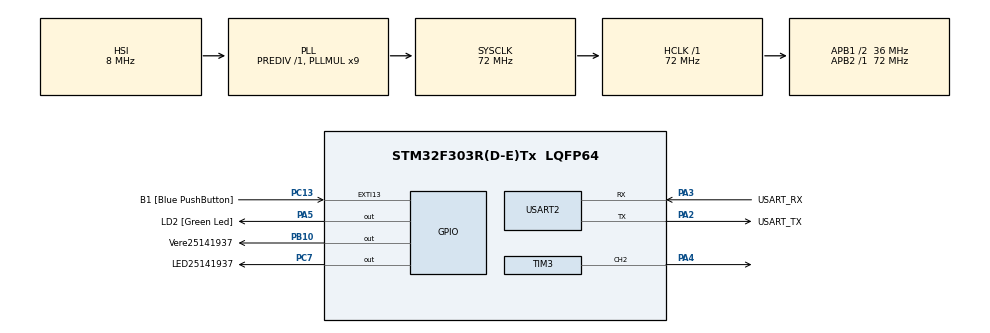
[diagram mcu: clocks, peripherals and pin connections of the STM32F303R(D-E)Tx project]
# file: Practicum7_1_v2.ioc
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Mcu.Family=STM32F3
Mcu.Name=STM32F303R(D-E)Tx
Mcu.Package=LQFP64
NVIC.PriorityGroup=NVIC_PRIORITYGROUP_0
PA13.GPIO_Label=TMS
PA13.Mode=Serial_Wire
PA13.Signal=SYS_JTMS-SWDIO
PA14.GPIO_Label=TCK
PA14.Mode=Serial_Wire
PA14.Signal=SYS_JTCK-SWCLK
PA2.GPIO_Label=USART_TX
PA2.GPIO_Mode=GPIO_MODE_AF_PP
PA2.GPIO_PuPd=GPIO_NOPULL
PA2.GPIO_Speed=GPIO_SPEED_FREQ_LOW
PA2.Mode=Asynchronous
PA2.Signal=USART2_TX
PA3.GPIO_Label=USART_RX
PA3.GPIO_Mode=GPIO_MODE_AF_PP
PA3.GPIO_PuPd=GPIO_NOPULL
PA3.GPIO_Speed=GPIO_SPEED_FREQ_LOW
PA3.Mode=Asynchronous
PA3.Signal=USART2_RX
PA4.Signal=S_TIM3_CH2
PA5.GPIO_Label=LD2 [Green Led]
PA5.GPIO_Mode=GPIO_MODE_OUTPUT_PP
PA5.GPIO_PuPd=GPIO_NOPULL
PA5.GPIO_Speed=GPIO_SPEED_FREQ_LOW
PA5.Signal=GPIO_Output
PB10.GPIO_Label=Vere25141937
PB10.Signal=GPIO_Output
PB3.GPIO_Label=SWO
PB3.Signal=SYS_JTDO-TRACESWO
PC13.GPIO_Label=B1 [Blue PushButton]
PC13.GPIO_ModeDefaultEXTI=GPIO_MODE_IT_FALLING
PC13.Signal=GPXTI13
PC14-OSC32_IN.Mode=LSE-External-Oscillator
PC14-OSC32_IN.Signal=RCC_OSC32_IN
PC15-OSC32_OUT.Mode=LSE-External-Oscillator
PC15-OSC32_OUT.Signal=RCC_OSC32_OUT
PC7.GPIO_Label=LED25141937
PC7.Signal=GPIO_Output
PF0-OSC_IN.Mode=HSE-External-Clock-Source
PF0-OSC_IN.Signal=RCC_OSC_IN
PF1-OSC_OUT.Signal=RCC_OSC_OUT
ProjectManager.HeapSize=0x200
ProjectManager.StackSize=0x400
ProjectManager.TargetToolchain=STM32CubeIDE
RCC.AHBFreq_Value=72000000
RCC.APB1CLKDivider=RCC_HCLK_DIV2
RCC.APB1Freq_Value=36000000
RCC.APB1TimFreq_Value=72000000
RCC.APB2Freq_Value=72000000
RCC.APB2TimFreq_Value=72000000
RCC.CortexFreq_Value=72000000
RCC.HCLKFreq_Value=72000000
RCC.HSE_VALUE=8000000
RCC.HSI_VALUE=8000000
RCC.PLLM=8
RCC.PLLMUL=RCC_PLL_MUL9
RCC.PLLN=336
RCC.PLLP=RCC_PLLP_DIV4
RCC.PLLQ=7
RCC.RCC_PLLsource_Clock_Source_FROM_HSE=RCC_HSE_PREDIV_DIV2
RCC.SYSCLKFreq_VALUE=72000000
RCC.SYSCLKSourceVirtual=RCC_SYSCLKSOURCE_PLLCLK
RCC.USBFreq_Value=72000000
SH.S_TIM3_CH2.0=TIM3_CH2,Output Compare2 CH2
TIM3.AutoReloadPreload=TIM_AUTORELOAD_PRELOAD_ENABLE
TIM3.Channel-Output\ Compare2\ CH2=TIM_CHANNEL_2
TIM3.OC2Preload=ENABLE
TIM3.OCMode_2=TIM_OCMODE_TOGGLE
TIM3.Period=4999
TIM3.Prescaler=71
USART2.VirtualMode-Asynchronous=VM_ASYNC
VP_TIM3_VS_ClockSourceINT.Mode=Internal
board=NUCLEO-F303RE

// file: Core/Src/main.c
/* USER CODE BEGIN Header */
/**
  ******************************************************************************
  * @file           : main.c
  * @brief          : Main program body
  ******************************************************************************
  * @attention
  *
  * Copyright (c) 2026 STMicroelectronics.
  * All rights reserved.
  *
  * This software is licensed under terms that can be found in the LICENSE file
  * in the root directory of this software component.
  * If no LICENSE file comes with this software, it is provided AS-IS.
  *
  ******************************************************************************
  */
/* USER CODE END Header */
#include "main.h"

/* USER CODE BEGIN Includes */
#include <stdio.h>
#include <math.h>
/* USER CODE END Includes */

/* USER CODE BEGIN PD */
#define KNIPPERTIJD 500
#define KLOK_FREQ 72000000
#define PRESCALER 72
#define NOTE_D   299.66
#define NOTE_Ds  311.13
#define NOTE_F   349.23
#define NOTE_G   392.0

#define TIJDSDUUR1 180
#define TIJDSDUUR2 120

/* USER CODE END PD */

TIM_HandleTypeDef htim3;

UART_HandleTypeDef huart2;

/* USER CODE BEGIN PV */
int autoReload = 5000-1;
/* USER CODE END PV */

void SystemClock_Config(void);
static void MX_GPIO_Init(void);
static void MX_USART2_UART_Init(void);
static void MX_TIM3_Init(void);
/* USER CODE BEGIN PFP */
void speelNoot(double noot, int duur_ms);
/* USER CODE END PFP */

int main(void)
{

  /* MCU Configuration--------------------------------------------------------*/

  /* Reset of all peripherals, Initializes the Flash interface and the Systick. */
  HAL_Init();

  /* Configure the system clock */
  SystemClock_Config();

  /* Initialize all configured peripherals */
  MX_GPIO_Init();
  MX_USART2_UART_Init();
  MX_TIM3_Init();
  /* USER CODE BEGIN 2 */
  char outpbuf[30]={0}; //char-array van 30 tekens, {0}, alle bytes op 0 ('\0')
  int aantalc; //aantal tekens
  aantalc=sprintf(outpbuf, "De knipper LED\r\n");
  HAL_UART_Transmit(&huart2, (uint8_t*)outpbuf, aantalc, HAL_MAX_DELAY);

  HAL_TIM_Base_Start(&htim3); //Start Timer 3 in base mode -> timer tellen

  speelNoot(NOTE_G, TIJDSDUUR1); //Bepaalde toonhoogte gedurende bepaalde tijd
  HAL_Delay(TIJDSDUUR2);
  speelNoot(NOTE_G, TIJDSDUUR1);
  HAL_Delay(TIJDSDUUR2);
  speelNoot(NOTE_G, TIJDSDUUR1);
  HAL_Delay(TIJDSDUUR2);
  speelNoot(NOTE_Ds, 4 * TIJDSDUUR1);
  HAL_Delay(2 * TIJDSDUUR2);
  speelNoot(NOTE_F, TIJDSDUUR1);
  HAL_Delay(TIJDSDUUR2);
  speelNoot(NOTE_F, TIJDSDUUR1);
  HAL_Delay(TIJDSDUUR2);
  speelNoot(NOTE_F, TIJDSDUUR1);
  HAL_Delay(TIJDSDUUR2);
  speelNoot(NOTE_D, 4 * TIJDSDUUR1);

  HAL_TIM_OC_Stop(&htim3, TIM_CHANNEL_2); //Stopt Output Compare
  HAL_TIM_Base_Stop(&htim3); //Timer volledig stoppen

  /* USER CODE END 2 */

  /* Infinite loop */
  while (1)
  {

  }
}

void SystemClock_Config(void)
{
  RCC_OscInitTypeDef RCC_OscInitStruct = {0};
  RCC_ClkInitTypeDef RCC_ClkInitStruct = {0};
  RCC_PeriphCLKInitTypeDef PeriphClkInit = {0};

  /** Initializes the RCC Oscillators according to the specified parameters
  * in the RCC_OscInitTypeDef structure.
  */
  RCC_OscInitStruct.OscillatorType = RCC_OSCILLATORTYPE_HSI;
  RCC_OscInitStruct.HSIState = RCC_HSI_ON;
  RCC_OscInitStruct.HSICalibrationValue = RCC_HSICALIBRATION_DEFAULT;
  RCC_OscInitStruct.PLL.PLLState = RCC_PLL_ON;
  RCC_OscInitStruct.PLL.PLLSource = RCC_PLLSOURCE_HSI;
  RCC_OscInitStruct.PLL.PLLMUL = RCC_PLL_MUL9;
  RCC_OscInitStruct.PLL.PREDIV = RCC_PREDIV_DIV1;
  if (HAL_RCC_OscConfig(&RCC_OscInitStruct) != HAL_OK)
  {
    Error_Handler();
  }

  /** Initializes the CPU, AHB and APB buses clocks
  */
  RCC_ClkInitStruct.ClockType = RCC_CLOCKTYPE_HCLK|RCC_CLOCKTYPE_SYSCLK
                              |RCC_CLOCKTYPE_PCLK1|RCC_CLOCKTYPE_PCLK2;
  RCC_ClkInitStruct.SYSCLKSource = RCC_SYSCLKSOURCE_PLLCLK;
  RCC_ClkInitStruct.AHBCLKDivider = RCC_SYSCLK_DIV1;
  RCC_ClkInitStruct.APB1CLKDivider = RCC_HCLK_DIV2;
  RCC_ClkInitStruct.APB2CLKDivider = RCC_HCLK_DIV1;

  if (HAL_RCC_ClockConfig(&RCC_ClkInitStruct, FLASH_LATENCY_2) != HAL_OK)
  {
    Error_Handler();
  }
  PeriphClkInit.PeriphClockSelection = RCC_PERIPHCLK_USART2|RCC_PERIPHCLK_TIM34;
  PeriphClkInit.Usart2ClockSelection = RCC_USART2CLKSOURCE_PCLK1;
  PeriphClkInit.Tim34ClockSelection = RCC_TIM34CLK_HCLK;
  if (HAL_RCCEx_PeriphCLKConfig(&PeriphClkInit) != HAL_OK)
  {
    Error_Handler();
  }
}

static void MX_TIM3_Init(void)
{

  TIM_ClockConfigTypeDef sClockSourceConfig = {0};
  TIM_MasterConfigTypeDef sMasterConfig = {0};
  TIM_OC_InitTypeDef sConfigOC = {0};

  htim3.Instance = TIM3;
  htim3.Init.Prescaler = 71;
  htim3.Init.CounterMode = TIM_COUNTERMODE_UP;
  htim3.Init.Period = 4999;
  htim3.Init.ClockDivision = TIM_CLOCKDIVISION_DIV1;
  htim3.Init.AutoReloadPreload = TIM_AUTORELOAD_PRELOAD_ENABLE;
  if (HAL_TIM_Base_Init(&htim3) != HAL_OK)
  {
    Error_Handler();
  }
  sClockSourceConfig.ClockSource = TIM_CLOCKSOURCE_INTERNAL;
  if (HAL_TIM_ConfigClockSource(&htim3, &sClockSourceConfig) != HAL_OK)
  {
    Error_Handler();
  }
  if (HAL_TIM_OC_Init(&htim3) != HAL_OK)
  {
    Error_Handler();
  }
  sMasterConfig.MasterOutputTrigger = TIM_TRGO_RESET;
  sMasterConfig.MasterSlaveMode = TIM_MASTERSLAVEMODE_DISABLE;
  if (HAL_TIMEx_MasterConfigSynchronization(&htim3, &sMasterConfig) != HAL_OK)
  {
    Error_Handler();
  }
  sConfigOC.OCMode = TIM_OCMODE_TOGGLE;
  sConfigOC.Pulse = 0;
  sConfigOC.OCPolarity = TIM_OCPOLARITY_HIGH;
  sConfigOC.OCFastMode = TIM_OCFAST_DISABLE;
  if (HAL_TIM_OC_ConfigChannel(&htim3, &sConfigOC, TIM_CHANNEL_2) != HAL_OK)
  {
    Error_Handler();
  }
  __HAL_TIM_ENABLE_OCxPRELOAD(&htim3, TIM_CHANNEL_2);
  HAL_TIM_MspPostInit(&htim3);

}

static void MX_USART2_UART_Init(void)
{

  huart2.Instance = USART2;
  huart2.Init.BaudRate = 38400;
  huart2.Init.WordLength = UART_WORDLENGTH_8B;
  huart2.Init.StopBits = UART_STOPBITS_1;
  huart2.Init.Parity = UART_PARITY_NONE;
  huart2.Init.Mode = UART_MODE_TX_RX;
  huart2.Init.HwFlowCtl = UART_HWCONTROL_NONE;
  huart2.Init.OverSampling = UART_OVERSAMPLING_16;
  huart2.Init.OneBitSampling = UART_ONE_BIT_SAMPLE_DISABLE;
  huart2.AdvancedInit.AdvFeatureInit = UART_ADVFEATURE_NO_INIT;
  if (HAL_UART_Init(&huart2) != HAL_OK)
  {
    Error_Handler();
  }

}

static void MX_GPIO_Init(void)
{
  GPIO_InitTypeDef GPIO_InitStruct = {0};

  /* GPIO Ports Clock Enable */
  __HAL_RCC_GPIOC_CLK_ENABLE();
  __HAL_RCC_GPIOF_CLK_ENABLE();
  __HAL_RCC_GPIOA_CLK_ENABLE();
  __HAL_RCC_GPIOB_CLK_ENABLE();

  /*Configure GPIO pin Output Level */
  HAL_GPIO_WritePin(LD2_GPIO_Port, LD2_Pin, GPIO_PIN_RESET);

  /*Configure GPIO pin Output Level */
  HAL_GPIO_WritePin(Vere25141937_GPIO_Port, Vere25141937_Pin, GPIO_PIN_RESET);

  /*Configure GPIO pin Output Level */
  HAL_GPIO_WritePin(LED25141937_GPIO_Port, LED25141937_Pin, GPIO_PIN_RESET);

  /*Configure GPIO pin : B1_Pin */
  GPIO_InitStruct.Pin = B1_Pin;
  GPIO_InitStruct.Mode = GPIO_MODE_IT_FALLING;
  GPIO_InitStruct.Pull = GPIO_NOPULL;
  HAL_GPIO_Init(B1_GPIO_Port, &GPIO_InitStruct);

  /*Configure GPIO pin : LD2_Pin */
  GPIO_InitStruct.Pin = LD2_Pin;
  GPIO_InitStruct.Mode = GPIO_MODE_OUTPUT_PP;
  GPIO_InitStruct.Pull = GPIO_NOPULL;
  GPIO_InitStruct.Speed = GPIO_SPEED_FREQ_LOW;
  HAL_GPIO_Init(LD2_GPIO_Port, &GPIO_InitStruct);

  /*Configure GPIO pin : Vere25141937_Pin */
  GPIO_InitStruct.Pin = Vere25141937_Pin;
  GPIO_InitStruct.Mode = GPIO_MODE_OUTPUT_PP;
  GPIO_InitStruct.Pull = GPIO_NOPULL;
  GPIO_InitStruct.Speed = GPIO_SPEED_FREQ_LOW;
  HAL_GPIO_Init(Vere25141937_GPIO_Port, &GPIO_InitStruct);

  /*Configure GPIO pin : LED25141937_Pin */
  GPIO_InitStruct.Pin = LED25141937_Pin;
  GPIO_InitStruct.Mode = GPIO_MODE_OUTPUT_PP;
  GPIO_InitStruct.Pull = GPIO_NOPULL;
  GPIO_InitStruct.Speed = GPIO_SPEED_FREQ_LOW;
  HAL_GPIO_Init(LED25141937_GPIO_Port, &GPIO_InitStruct);

}

/* USER CODE BEGIN 4 */
void HAL_GPIO_EXTI_Callback(uint16_t GPIO_Pin) //Automatisch aangeroepen wanneer EXTI-intterupt (drukknop)
{
	if(GPIO_Pin == B1_Pin)  //Checkt of het van pin b1 komt
	{

	    autoReload = autoReload / 2; //Halveren van de ARR -> hogere frequentie
	    if(autoReload < 100) //Voorkomt dat timer te snel wordt, als te klein --> reset naar startwaarde
	        autoReload = 5000-1;

	    // alleen aanpassen, niet starten!
	    __HAL_TIM_SET_AUTORELOAD(&htim3, autoReload); //Zet direct nieuwe ARR-waarde (timer blijft lopen, wordt niet gereset)
	}
}

void speelNoot(double noot, int duur)
{
    uint32_t arr = (uint32_t)((KLOK_FREQ / (2.0 * PRESCALER * noot)) - 1); //*2.0, omdat output toggelt (halver periode per toggle)

    __HAL_TIM_SET_AUTORELOAD(&htim3, arr); //Zet periode van timer 3, bepaalt hoesnel de timer overloopt -> toonhoogte
    __HAL_TIM_SET_COMPARE(&htim3, TIM_CHANNEL_2, arr); //Compare-waarde gelijk aan ARR -> Output Compare triggert precies aan eind van periode (50% duty cycle)
    __HAL_TIM_SET_COUNTER(&htim3, 0); //Timer teller resetten (naar 0), toon start netjes vanaf het begin

    HAL_TIM_OC_Start(&htim3, TIM_CHANNEL_2);   // Pin begint te toggelen -> toon aan
    HAL_Delay(duur);

    HAL_TIM_OC_Stop(&htim3, TIM_CHANNEL_2);    // toon uit

}
/* USER CODE END 4 */

void Error_Handler(void)
{
  __disable_irq();
  while (1)
  {
  }
}
